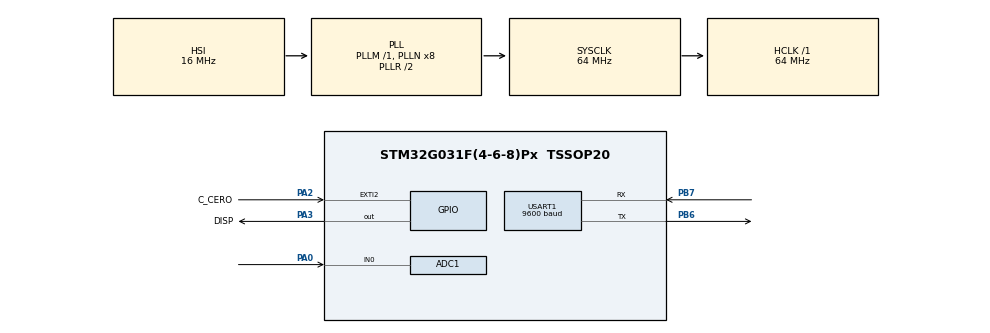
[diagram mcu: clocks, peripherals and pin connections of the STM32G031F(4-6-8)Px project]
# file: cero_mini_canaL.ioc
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ADC1.Channel-0\#ChannelRegularConversion=ADC_CHANNEL_0
ADC1.NbrOfConversionFlag=1
ADC1.Rank-0\#ChannelRegularConversion=1
ADC1.SamplingTime-0\#ChannelRegularConversion=ADC_SAMPLINGTIME_COMMON_1
ADC1.SelectedChannel=ADC_CHANNEL_0
ADC1.master=1
Mcu.Family=STM32G0
Mcu.Name=STM32G031F(4-6-8)Px
Mcu.Package=TSSOP20
NVIC.EXTI2_3_IRQn=true\:0\:0\:false\:false\:true\:true\:true\:true
NVIC.TIM1_BRK_UP_TRG_COM_IRQn=true\:0\:0\:false\:false\:true\:true\:true\:true
PA0.Mode=IN0
PA0.Signal=ADC1_IN0
PA14-BOOT0__PA15.StandardMode=true
PA2.GPIO_Label=C_CERO
PA2.Signal=GPXTI2
PA3.GPIO_Label=DISP
PA3.Signal=GPIO_Output
PB0__PB1__PB2__PA8.StandardMode=true
PB3__PB4__PB5__PB6.StandardMode=true
PB6.Mode=Asynchronous
PB6.Signal=USART1_TX
PB7.Mode=Asynchronous
PB7.Signal=USART1_RX
PB7__PB8.StandardMode=true
PC14-OSC32_IN\ (PC14)__PB9.StandardMode=true
ProjectManager.HeapSize=0x200
ProjectManager.StackSize=0x400
ProjectManager.TargetToolchain=STM32CubeIDE
RCC.ADCFreq_Value=64000000
RCC.AHBFreq_Value=64000000
RCC.CortexFreq_Value=64000000
RCC.EXTERNAL_CLOCK_VALUE=12288000
RCC.HCLKFreq_Value=64000000
RCC.HSE_VALUE=8000000
RCC.HSI_VALUE=16000000
RCC.LSE_VALUE=32768
RCC.PLLQ=RCC_PLLQ_DIV4
RCC.SYSCLKFreq_VALUE=64000000
RCC.SYSCLKSource=RCC_SYSCLKSOURCE_PLLCLK
RCC.VCOOutputFreq_Value=128000000
TIM1.Period=10000
TIM1.Prescaler=64-1
TIM3.AutoReloadPreload=TIM_AUTORELOAD_PRELOAD_ENABLE
TIM3.Prescaler=64-1
USART1.BaudRate=9600
USART1.VirtualMode-Asynchronous=VM_ASYNC
VP_TIM1_VS_ClockSourceINT.Mode=Internal
VP_TIM3_VS_ClockSourceINT.Mode=Internal
board=custom

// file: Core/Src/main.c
/* USER CODE BEGIN Header */
/**
  ******************************************************************************
  * @file           : main.c
  * @brief          : Main program body
  ******************************************************************************
  * @attention
  *
  * Copyright (c) 2025 STMicroelectronics.
  * All rights reserved.
  *
  * This software is licensed under terms that can be found in the LICENSE file
  * in the root directory of this software component.
  * If no LICENSE file comes with this software, it is provided AS-IS.
  *
  ******************************************************************************
  */
/* USER CODE END Header */
#include "main.h"

/* USER CODE BEGIN Includes */
#include "pinout1.h"
#include "uart.h"
#include "delays.h"
#include "adc.h"
#include <MAP_.h>
#include "CRUCE_CERO.h"
#include "floattostr_.h"

#include "stdio.h"
#include "stdint.h"
#include "string.h"
#include "stdlib.h"
/* USER CODE END Includes */

ADC_HandleTypeDef hadc1;

TIM_HandleTypeDef htim1;
TIM_HandleTypeDef htim3;

UART_HandleTypeDef huart1;

/* USER CODE BEGIN PV */
char texto[100];
uint16_t codigo;
float tiempo;
/* USER CODE END PV */

void SystemClock_Config(void);
static void MX_GPIO_Init(void);
static void MX_ADC1_Init(void);
static void MX_TIM1_Init(void);
static void MX_USART1_UART_Init(void);
static void MX_TIM3_Init(void);

int main(void)
{

  /* MCU Configuration--------------------------------------------------------*/

  /* Reset of all peripherals, Initializes the Flash interface and the Systick. */
  HAL_Init();

  /* Configure the system clock */
  SystemClock_Config();

  /* Initialize all configured peripherals */
  MX_GPIO_Init();
  MX_ADC1_Init();
  MX_TIM1_Init();
  MX_USART1_UART_Init();
  MX_TIM3_Init();
  /* USER CODE BEGIN 2 */
   delay_Init();
  /* USER CODE END 2 */

  /* Infinite loop */
  /* USER CODE BEGIN WHILE */
  while (1)
  {

	  codigo=ADC_Read();
	  tiempo=map(codigo,0,4095,LIM_SUP, LIM_INF);
	  sprintf(texto,"VALOR=%u\r\n",codigo);
	  uartx_write_text(&huart1, texto);

	  //sprintf(texto,"tirmpo=%.1\r\n\r\n\r\n",(uint16_t)tiempo);

	  floattostr(texto, tiempo, 2);
	  uartx_write_text(&huart1, "TIEMPO=");
	  uartx_write_text(&huart1, texto);
			  uartx_write_text(&huart1, "\r\n\r\n\r\n");
	  Cruce_set(&tiempo);
	  HAL_Delay(500);
    /* USER CODE END WHILE */

  }
}

void SystemClock_Config(void)
{
  RCC_OscInitTypeDef RCC_OscInitStruct = {0};
  RCC_ClkInitTypeDef RCC_ClkInitStruct = {0};

  /** Configure the main internal regulator output voltage
  */
  HAL_PWREx_ControlVoltageScaling(PWR_REGULATOR_VOLTAGE_SCALE1);

  /** Initializes the RCC Oscillators according to the specified parameters
  * in the RCC_OscInitTypeDef structure.
  */
  RCC_OscInitStruct.OscillatorType = RCC_OSCILLATORTYPE_HSI;
  RCC_OscInitStruct.HSIState = RCC_HSI_ON;
  RCC_OscInitStruct.HSIDiv = RCC_HSI_DIV1;
  RCC_OscInitStruct.HSICalibrationValue = RCC_HSICALIBRATION_DEFAULT;
  RCC_OscInitStruct.PLL.PLLState = RCC_PLL_ON;
  RCC_OscInitStruct.PLL.PLLSource = RCC_PLLSOURCE_HSI;
  RCC_OscInitStruct.PLL.PLLM = RCC_PLLM_DIV1;
  RCC_OscInitStruct.PLL.PLLN = 8;
  RCC_OscInitStruct.PLL.PLLP = RCC_PLLP_DIV2;
  RCC_OscInitStruct.PLL.PLLQ = RCC_PLLQ_DIV4;
  RCC_OscInitStruct.PLL.PLLR = RCC_PLLR_DIV2;
  if (HAL_RCC_OscConfig(&RCC_OscInitStruct) != HAL_OK)
  {
    Error_Handler();
  }

  /** Initializes the CPU, AHB and APB buses clocks
  */
  RCC_ClkInitStruct.ClockType = RCC_CLOCKTYPE_HCLK|RCC_CLOCKTYPE_SYSCLK
                              |RCC_CLOCKTYPE_PCLK1;
  RCC_ClkInitStruct.SYSCLKSource = RCC_SYSCLKSOURCE_PLLCLK;
  RCC_ClkInitStruct.AHBCLKDivider = RCC_SYSCLK_DIV1;
  RCC_ClkInitStruct.APB1CLKDivider = RCC_HCLK_DIV1;

  if (HAL_RCC_ClockConfig(&RCC_ClkInitStruct, FLASH_LATENCY_2) != HAL_OK)
  {
    Error_Handler();
  }
}

static void MX_ADC1_Init(void)
{

  ADC_ChannelConfTypeDef sConfig = {0};

  /** Configure the global features of the ADC (Clock, Resolution, Data Alignment and number of conversion)
  */
  hadc1.Instance = ADC1;
  hadc1.Init.ClockPrescaler = ADC_CLOCK_SYNC_PCLK_DIV2;
  hadc1.Init.Resolution = ADC_RESOLUTION_12B;
  hadc1.Init.DataAlign = ADC_DATAALIGN_RIGHT;
  hadc1.Init.ScanConvMode = ADC_SCAN_DISABLE;
  hadc1.Init.EOCSelection = ADC_EOC_SINGLE_CONV;
  hadc1.Init.LowPowerAutoWait = DISABLE;
  hadc1.Init.LowPowerAutoPowerOff = DISABLE;
  hadc1.Init.ContinuousConvMode = DISABLE;
  hadc1.Init.NbrOfConversion = 1;
  hadc1.Init.DiscontinuousConvMode = DISABLE;
  hadc1.Init.ExternalTrigConv = ADC_SOFTWARE_START;
  hadc1.Init.ExternalTrigConvEdge = ADC_EXTERNALTRIGCONVEDGE_NONE;
  hadc1.Init.DMAContinuousRequests = DISABLE;
  hadc1.Init.Overrun = ADC_OVR_DATA_PRESERVED;
  hadc1.Init.SamplingTimeCommon1 = ADC_SAMPLETIME_1CYCLE_5;
  hadc1.Init.SamplingTimeCommon2 = ADC_SAMPLETIME_1CYCLE_5;
  hadc1.Init.OversamplingMode = DISABLE;
  hadc1.Init.TriggerFrequencyMode = ADC_TRIGGER_FREQ_HIGH;
  if (HAL_ADC_Init(&hadc1) != HAL_OK)
  {
    Error_Handler();
  }

  /** Configure Regular Channel
  */
  sConfig.Channel = ADC_CHANNEL_0;
  sConfig.Rank = ADC_REGULAR_RANK_1;
  sConfig.SamplingTime = ADC_SAMPLINGTIME_COMMON_1;
  if (HAL_ADC_ConfigChannel(&hadc1, &sConfig) != HAL_OK)
  {
    Error_Handler();
  }

}

static void MX_TIM1_Init(void)
{

  TIM_ClockConfigTypeDef sClockSourceConfig = {0};
  TIM_MasterConfigTypeDef sMasterConfig = {0};

  htim1.Instance = TIM1;
  htim1.Init.Prescaler = 64-1;
  htim1.Init.CounterMode = TIM_COUNTERMODE_UP;
  htim1.Init.Period = 10000;
  htim1.Init.ClockDivision = TIM_CLOCKDIVISION_DIV1;
  htim1.Init.RepetitionCounter = 0;
  htim1.Init.AutoReloadPreload = TIM_AUTORELOAD_PRELOAD_DISABLE;
  if (HAL_TIM_Base_Init(&htim1) != HAL_OK)
  {
    Error_Handler();
  }
  sClockSourceConfig.ClockSource = TIM_CLOCKSOURCE_INTERNAL;
  if (HAL_TIM_ConfigClockSource(&htim1, &sClockSourceConfig) != HAL_OK)
  {
    Error_Handler();
  }
  sMasterConfig.MasterOutputTrigger = TIM_TRGO_RESET;
  sMasterConfig.MasterOutputTrigger2 = TIM_TRGO2_RESET;
  sMasterConfig.MasterSlaveMode = TIM_MASTERSLAVEMODE_DISABLE;
  if (HAL_TIMEx_MasterConfigSynchronization(&htim1, &sMasterConfig) != HAL_OK)
  {
    Error_Handler();
  }

}

static void MX_TIM3_Init(void)
{

  TIM_ClockConfigTypeDef sClockSourceConfig = {0};
  TIM_MasterConfigTypeDef sMasterConfig = {0};

  htim3.Instance = TIM3;
  htim3.Init.Prescaler = 64-1;
  htim3.Init.CounterMode = TIM_COUNTERMODE_UP;
  htim3.Init.Period = 65535;
  htim3.Init.ClockDivision = TIM_CLOCKDIVISION_DIV1;
  htim3.Init.AutoReloadPreload = TIM_AUTORELOAD_PRELOAD_ENABLE;
  if (HAL_TIM_Base_Init(&htim3) != HAL_OK)
  {
    Error_Handler();
  }
  sClockSourceConfig.ClockSource = TIM_CLOCKSOURCE_INTERNAL;
  if (HAL_TIM_ConfigClockSource(&htim3, &sClockSourceConfig) != HAL_OK)
  {
    Error_Handler();
  }
  sMasterConfig.MasterOutputTrigger = TIM_TRGO_RESET;
  sMasterConfig.MasterSlaveMode = TIM_MASTERSLAVEMODE_DISABLE;
  if (HAL_TIMEx_MasterConfigSynchronization(&htim3, &sMasterConfig) != HAL_OK)
  {
    Error_Handler();
  }

}

static void MX_USART1_UART_Init(void)
{

  huart1.Instance = USART1;
  huart1.Init.BaudRate = 9600;
  huart1.Init.WordLength = UART_WORDLENGTH_8B;
  huart1.Init.StopBits = UART_STOPBITS_1;
  huart1.Init.Parity = UART_PARITY_NONE;
  huart1.Init.Mode = UART_MODE_TX_RX;
  huart1.Init.HwFlowCtl = UART_HWCONTROL_NONE;
  huart1.Init.OverSampling = UART_OVERSAMPLING_16;
  huart1.Init.OneBitSampling = UART_ONE_BIT_SAMPLE_DISABLE;
  huart1.Init.ClockPrescaler = UART_PRESCALER_DIV1;
  huart1.AdvancedInit.AdvFeatureInit = UART_ADVFEATURE_NO_INIT;
  if (HAL_UART_Init(&huart1) != HAL_OK)
  {
    Error_Handler();
  }
  if (HAL_UARTEx_SetTxFifoThreshold(&huart1, UART_TXFIFO_THRESHOLD_1_8) != HAL_OK)
  {
    Error_Handler();
  }
  if (HAL_UARTEx_SetRxFifoThreshold(&huart1, UART_RXFIFO_THRESHOLD_1_8) != HAL_OK)
  {
    Error_Handler();
  }
  if (HAL_UARTEx_DisableFifoMode(&huart1) != HAL_OK)
  {
    Error_Handler();
  }

}

static void MX_GPIO_Init(void)
{
  GPIO_InitTypeDef GPIO_InitStruct = {0};

  /* GPIO Ports Clock Enable */
  __HAL_RCC_GPIOB_CLK_ENABLE();
  __HAL_RCC_GPIOA_CLK_ENABLE();

  /*Configure GPIO pin Output Level */
  HAL_GPIO_WritePin(DISP_GPIO_Port, DISP_Pin, GPIO_PIN_RESET);

  /*Configure GPIO pin : C_CERO_Pin */
  GPIO_InitStruct.Pin = C_CERO_Pin;
  GPIO_InitStruct.Mode = GPIO_MODE_IT_RISING;
  GPIO_InitStruct.Pull = GPIO_NOPULL;
  HAL_GPIO_Init(C_CERO_GPIO_Port, &GPIO_InitStruct);

  /*Configure GPIO pin : DISP_Pin */
  GPIO_InitStruct.Pin = DISP_Pin;
  GPIO_InitStruct.Mode = GPIO_MODE_OUTPUT_PP;
  GPIO_InitStruct.Pull = GPIO_NOPULL;
  GPIO_InitStruct.Speed = GPIO_SPEED_FREQ_LOW;
  HAL_GPIO_Init(DISP_GPIO_Port, &GPIO_InitStruct);

  /* EXTI interrupt init*/
  HAL_NVIC_SetPriority(EXTI2_3_IRQn, 0, 0);
  HAL_NVIC_EnableIRQ(EXTI2_3_IRQn);

}

void Error_Handler(void)
{
  __disable_irq();
  while (1)
  {
  }
}
